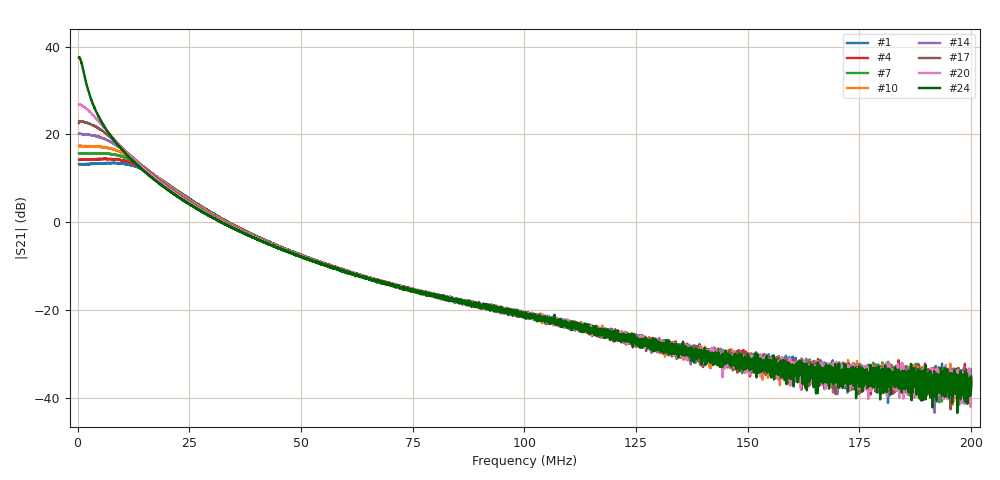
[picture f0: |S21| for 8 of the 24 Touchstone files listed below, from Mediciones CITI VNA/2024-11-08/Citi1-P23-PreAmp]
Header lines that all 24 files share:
# Hz S DB R 50
! CMT, M5065, 19127446, 24.2.4/2
! Data: Format (Calibration Info)
! Freq	S11:dB/Ang(F2)	S21:dB/Ang(F2)	S12:dB/Ang(F2)	S22:dB/Ang(F2)
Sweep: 300 kHz to 200 MHz
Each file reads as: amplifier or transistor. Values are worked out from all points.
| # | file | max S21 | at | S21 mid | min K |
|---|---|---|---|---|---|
| 1 | ganancia_40.s2p | 13.6 dB | 6.469 MHz | -21.8 dB at 100.2 MHz | 3.37 |
| 2 | ganancia_41.s2p | 13.9 dB | 7.29 MHz | -20.9 dB at 100.2 MHz | 1.71 |
| 3 | ganancia_42.s2p | 14.2 dB | 6.38 MHz | -21.5 dB at 100.2 MHz | 2.06 |
| 4 | ganancia_43.s2p | 14.5 dB | 5.981 MHz | -21.1 dB at 100.2 MHz | 2.91 |
| 5 | ganancia_44.s2p | 15.0 dB | 6.114 MHz | -21.1 dB at 100.2 MHz | 2.23 |
| 6 | ganancia_45.s2p | 15.4 dB | 4.272 MHz | -20.6 dB at 100.2 MHz | 2.57 |
| 7 | ganancia_46.s2p | 15.8 dB | 2.453 MHz | -21.1 dB at 100.2 MHz | 3.02 |
| 8 | ganancia_47.s2p | 16.2 dB | 4.272 MHz | -21.1 dB at 100.2 MHz | 2.22 |
| 9 | ganancia_48.s2p | 16.9 dB | 677.3 kHz | -21.1 dB at 100.2 MHz | 2.07 |
| 10 | ganancia_49.s2p | 17.4 dB | 388.8 kHz | -21.3 dB at 100.2 MHz | 2.46 |
| 11 | ganancia_50.s2p | 18.0 dB | 655.1 kHz | -21.2 dB at 100.2 MHz | 2.58 |
| 12 | ganancia_51.s2p | 18.6 dB | 388.8 kHz | -20.7 dB at 100.2 MHz | 1.44 |
| 13 | ganancia_52.s2p | 19.6 dB | 388.8 kHz | -20.9 dB at 100.2 MHz | 1.72 |
| 14 | ganancia_53.s2p | 20.2 dB | 366.6 kHz | -21.5 dB at 100.2 MHz | 1.28 |
| 15 | ganancia_54.s2p | 21.0 dB | 544.1 kHz | -20.7 dB at 100.2 MHz | 1.43 |
| 16 | ganancia_55.s2p | 21.8 dB | 411 kHz | -20.8 dB at 100.2 MHz | 1.19 |
| 17 | ganancia_56.s2p | 23.1 dB | 433.1 kHz | -21.3 dB at 100.2 MHz | 1.33 |
| 18 | ganancia_57.s2p | 24.1 dB | 344.4 kHz | -20.7 dB at 100.2 MHz | 1.06 |
| 19 | ganancia_58.s2p | 25.4 dB | 344.4 kHz | -21.3 dB at 100.2 MHz | 1.13 |
| 20 | ganancia_59.s2p | 26.9 dB | 366.6 kHz | -20.8 dB at 100.2 MHz | 0.93 |
| 21 | ganancia_60.s2p | 29.6 dB | 388.8 kHz | -20.9 dB at 100.2 MHz | 0.84 |
| 22 | ganancia_61.s2p | 31.9 dB | 322.2 kHz | -21.3 dB at 100.2 MHz | 0.78 |
| 23 | ganancia_62.s2p | 35.2 dB | 322.2 kHz | -21.3 dB at 100.2 MHz | 0.83 |
| 24 | ganancia_63.s2p | 37.6 dB | 388.8 kHz | -20.6 dB at 100.2 MHz | 0.60 |
